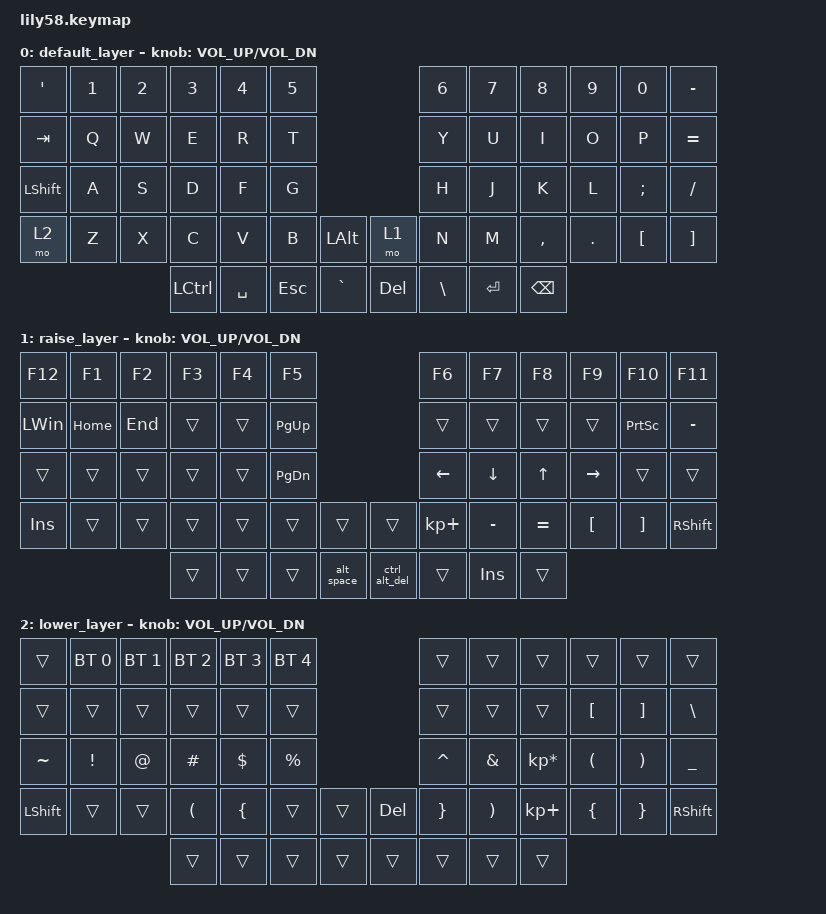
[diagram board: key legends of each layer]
/*
 * Copyright (c) 2020 The ZMK Contributors
 *
 * SPDX-License-Identifier: MIT
 */

#include <behaviors.dtsi>
#include <dt-bindings/zmk/bt.h>
#include <dt-bindings/zmk/keys.h>

/ {
    // Combo keys are a way to combine multiple keypresses to output a different key.

    combos {
        compatible = "zmk,combos";

        combo_clear_bluetooth {
            timeout-ms = <50>; // Press all the below keys within 50ms to activate mapping
            key-positions = <52 42 0>; // Press 52=LOWER, 42=[, 0=tilde
            bindings = <&bt BT_CLR>; // activate clear bluetooth bindings for current channel
        };
    };

    macros {
        ctrl_alt_del: new_macro {
            compatible = "zmk,behavior-macro";
            #binding-cells = <0>;
            bindings =
                <&macro_press>,
                <&kp LCTRL &kp LEFT_ALT &kp DEL>,
                <&macro_release>,
                <&kp LCTRL &kp LEFT_ALT &kp DEL>;

            label = "NEW_MACRO";
        };

        alt_space: alt_space {
            compatible = "zmk,behavior-macro";
            #binding-cells = <0>;
            bindings =
                <&macro_press>,
                <&kp LEFT_ALT &kp SPACE>,
                <&macro_release>,
                <&kp LEFT_ALT &kp SPACE>;

            label = "ALT_SPACE";
        };
    };

    keymap {
        compatible = "zmk,keymap";

        default_layer {
            // ------------------------------------------------------------------------------------------------------------
            // |   `      |  1  |  2  |  3   |  4   |  5   |                   |  6   |  7    |  8    |  9   |   0   |   -   |
            // |  TAB     |  Q  |  W  |  E   |  R   |  T   |                   |  Y   |  U    |  I    |  O   |   P   |   =   |
            // |hCTRL tESC|  A  |  S  |  D   |  F   |  G   |                   |  H   |  J    |  K    |  L   |   ;   |   '   |
            // | SHIFT    |  Z  |  X  |  C   |  V   |  B   |   "["  |  |  "]"  |  N   |  M    |  ,    |  .   |   /   | SHIFT |
            //                        | ALT  | GUI  | LOWER|  SPACE |  | BSPC  | ENTER| RAISE | CTRL  |

            bindings = <
&kp SQT         &kp N1  &kp N2  &kp N3     &kp N4     &kp N5                            &kp N6         &kp N7     &kp N8         &kp N9   &kp N0    &kp MINUS
&kp TAB         &kp Q   &kp W   &kp E      &kp R      &kp T                             &kp Y          &kp U      &kp I          &kp O    &kp P     &kp EQUAL
&kp LEFT_SHIFT  &kp A   &kp S   &kp D      &kp F      &kp G                             &kp H          &kp J      &kp K          &kp L    &kp SEMI  &kp SLASH
&mo 2           &kp Z   &kp X   &kp C      &kp V      &kp B    &kp LEFT_ALT    &mo 1    &kp N          &kp M      &kp COMMA      &kp DOT  &kp LBKT  &kp RBKT
                                &kp LCTRL  &kp SPACE  &kp ESC  &kp GRAVE       &kp DEL  &kp BACKSLASH  &kp ENTER  &kp BACKSPACE
            >;

            sensor-bindings = <&inc_dec_kp C_VOL_UP C_VOL_DN>;
        };

        raise_layer {
            // ------------------------------------------------------------------------------------------------------------
            // |  F12    |  F1 |  F2 |  F3  |  F4  |  F5  |                   |  F6  |   F7  |   F8  |  F9  |  F10  |  F11  |
            // |   `     |  1  |  2  |  3   |  4   |  5   |                   |  6   |   7   |   8   |  9   |   0   |   -   |
            // |CTRL/ESC |     |     |      |      |      |                   |  <-  |   ^   |   v   |  ->  |       |       |
            // | SHIFT   |     |     |      |      |      |        |  |       |  +   |   -   |   =   |  [   |   ]   |   \   |
            //                       |      |      |      |        |  |       |      |       |       |

            bindings = <
&kp F12       &kp F1    &kp F2   &kp F3  &kp F4  &kp F5                                      &kp F6       &kp F7     &kp F8     &kp F9     &kp F10          &kp F11
&kp LEFT_WIN  &kp HOME  &kp END  &trans  &trans  &kp PAGE_UP                                 &trans       &trans     &trans     &trans     &kp PRINTSCREEN  &kp MINUS
&trans        &trans    &trans   &trans  &trans  &kp PAGE_DOWN                               &kp LEFT     &kp DOWN   &kp UP     &kp RIGHT  &trans           &trans
&kp INSERT    &trans    &trans   &trans  &trans  &trans         &trans        &trans         &kp KP_PLUS  &kp MINUS  &kp EQUAL  &kp LBKT   &kp RBKT         &kp RIGHT_SHIFT
                                 &trans  &trans  &trans         &alt_space    &ctrl_alt_del  &trans       &kp INS    &trans
            >;

            sensor-bindings = <&inc_dec_kp C_VOL_UP C_VOL_DN>;
        };

        lower_layer {
            // ------------------------------------------------------------------------------------------------------------
            // |          | BT1     | BT2    |  BT3 |  BT4  |  BT5 |                    |      |       |       |      |       |       |
            // |          |         |        |      |       |      |                    |      |       |       |  [   |   ]   |   \   |
            // |   ~      |  !      |  @     |  #   |  $    |  %   |                    |  ^   |  &    |  *    |  (   |   )   |   _   |
            // | SHIFT    |  EP_ON  | EP_OFF |      |  (    |  {   |       |  |   DEL   |  }   |  )    |  +    |  {   |   }   | SHIFT |
            //                               |      |       |      |       |  |         |      |       |       |

            bindings = <
&trans      &bt BT_SEL 0  &bt BT_SEL 1  &bt BT_SEL 2  &bt BT_SEL 3  &bt BT_SEL 4                     &trans     &trans    &trans           &trans    &trans    &trans
&trans      &trans        &trans        &trans        &trans        &trans                           &trans     &trans    &trans           &kp LBKT  &kp RBKT  &kp BSLH
&kp TILDE   &kp EXCL      &kp AT        &kp HASH      &kp DOLLAR    &kp PRCNT                        &kp CARET  &kp AMPS  &kp KP_MULTIPLY  &kp LPAR  &kp RPAR  &kp UNDER
&kp LSHIFT  &trans        &trans        &kp LPAR      &kp LBRC      &trans        &trans    &kp DEL  &kp RBRC   &kp RPAR  &kp KP_PLUS      &kp LBRC  &kp RBRC  &kp RSHFT
                                        &trans        &trans        &trans        &trans    &trans   &trans     &trans    &trans
            >;

            sensor-bindings = <&inc_dec_kp C_VOL_UP C_VOL_DN>;
        };
    };
};
